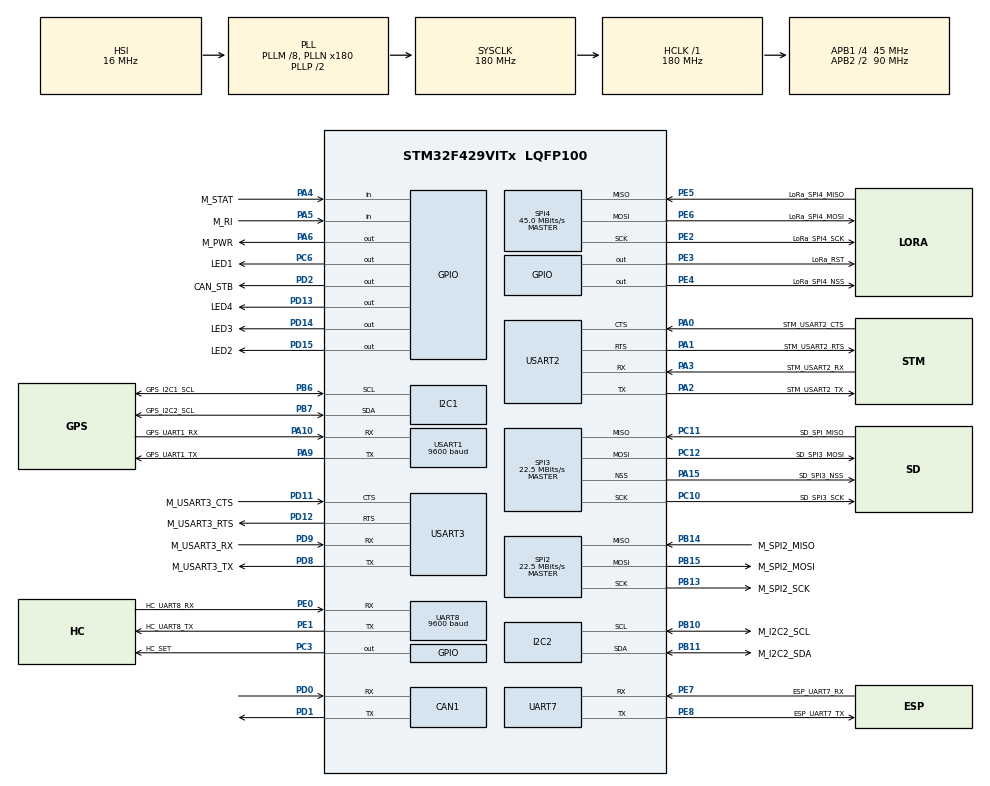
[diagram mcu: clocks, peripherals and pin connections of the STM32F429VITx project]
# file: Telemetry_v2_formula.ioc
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CAN1.CalculateTimeBit=3000
CAN1.CalculateTimeQuantum=355.55555555555554
Mcu.Family=STM32F4
Mcu.Name=STM32F429VITx
Mcu.Package=LQFP100
NVIC.I2C2_ER_IRQn=true\:0\:0\:false\:false\:true\:true
NVIC.I2C2_EV_IRQn=true\:0\:0\:false\:false\:true\:true
NVIC.PriorityGroup=NVIC_PRIORITYGROUP_4
NVIC.SPI4_IRQn=true\:0\:0\:false\:false\:true\:true
NVIC.TIM1_BRK_TIM9_IRQn=true\:0\:0\:false\:false\:true\:true
NVIC.TIM1_CC_IRQn=true\:0\:0\:false\:false\:true\:true
NVIC.TIM1_TRG_COM_TIM11_IRQn=true\:0\:0\:false\:false\:true\:true
NVIC.TIM1_UP_TIM10_IRQn=true\:0\:0\:false\:false\:true\:true
NVIC.TIM2_IRQn=true\:0\:0\:false\:false\:true\:true
NVIC.TIM3_IRQn=true\:0\:0\:false\:false\:true\:true
NVIC.TIM4_IRQn=true\:0\:0\:false\:false\:true\:true
NVIC.UART7_IRQn=true\:0\:0\:false\:false\:true\:true
NVIC.UART8_IRQn=true\:0\:0\:false\:false\:true\:true
NVIC.USART1_IRQn=true\:0\:0\:false\:false\:true\:true
NVIC.USART2_IRQn=true\:0\:0\:false\:false\:true\:true
NVIC.USART3_IRQn=true\:0\:0\:false\:false\:true\:true
PA0/WKUP.GPIO_Label=STM_USART2_CTS
PA0/WKUP.Mode=CTS_RTS
PA0/WKUP.Signal=USART2_CTS
PA1.GPIO_Label=STM_USART2_RTS
PA1.Mode=CTS_RTS
PA1.Signal=USART2_RTS
PA10.GPIO_Label=GPS_UART1_RX
PA10.Mode=Asynchronous
PA10.Signal=USART1_RX
PA13.Mode=Serial_Wire
PA13.Signal=SYS_JTMS-SWDIO
PA14.Mode=Serial_Wire
PA14.Signal=SYS_JTCK-SWCLK
PA15.GPIO_Label=SD_SPI3_NSS
PA15.Mode=NSS_Signal_Hard_Output
PA15.Signal=SPI3_NSS
PA2.GPIO_Label=STM_USART2_TX
PA2.Mode=Asynchronous
PA2.Signal=USART2_TX
PA3.GPIO_Label=STM_USART2_RX
PA3.Mode=Asynchronous
PA3.Signal=USART2_RX
PA4.GPIO_Label=M_STAT
PA4.Signal=GPIO_Input
PA5.GPIO_Label=M_RI
PA5.Signal=GPIO_Input
PA6.GPIO_Label=M_PWR
PA6.Signal=GPIO_Output
PA9.GPIO_Label=GPS_UART1_TX
PA9.Mode=Asynchronous
PA9.Signal=USART1_TX
PB10.GPIO_Label=M_I2C2_SCL
PB10.Mode=I2C
PB10.Signal=I2C2_SCL
PB11.GPIO_Label=M_I2C2_SDA
PB11.Mode=I2C
PB11.Signal=I2C2_SDA
PB12.GPIO_Label=M_SPI2_NSS
PB12.Signal=SPI2_NSS
PB13.GPIO_Label=M_SPI2_SCK
PB13.Mode=Full_Duplex_Master
PB13.Signal=SPI2_SCK
PB14.GPIO_Label=M_SPI2_MISO
PB14.Mode=Full_Duplex_Master
PB14.Signal=SPI2_MISO
PB15.GPIO_Label=M_SPI2_MOSI
PB15.Mode=Full_Duplex_Master
PB15.Signal=SPI2_MOSI
PB6.GPIO_Label=GPS_I2C1_SCL
PB6.Mode=I2C
PB6.Signal=I2C1_SCL
PB7.GPIO_Label=GPS_I2C2_SCL
PB7.Mode=I2C
PB7.Signal=I2C1_SDA
PC10.GPIO_Label=SD_SPI3_SCK
PC10.Mode=Full_Duplex_Master
PC10.Signal=SPI3_SCK
PC11.GPIO_Label=SD_SPI_MISO
PC11.Mode=Full_Duplex_Master
PC11.Signal=SPI3_MISO
PC12.GPIO_Label=SD_SPI3_MOSI
PC12.Mode=Full_Duplex_Master
PC12.Signal=SPI3_MOSI
PC3.GPIO_Label=HC_SET
PC3.Signal=GPIO_Output
PC6.GPIO_Label=LED1
PC6.Signal=GPIO_Output
PD0.Mode=Master
PD0.Signal=CAN1_RX
PD1.Mode=Master
PD1.Signal=CAN1_TX
PD11.GPIO_Label=M_USART3_CTS
PD11.Mode=CTS_RTS
PD11.Signal=USART3_CTS
PD12.GPIO_Label=M_USART3_RTS
PD12.Mode=CTS_RTS
PD12.Signal=USART3_RTS
PD13.GPIO_Label=LED4
PD13.Signal=GPIO_Output
PD14.GPIO_Label=LED3
PD14.Signal=GPIO_Output
PD15.GPIO_Label=LED2
PD15.Signal=GPIO_Output
PD2.GPIO_Label=CAN_STB
PD2.Signal=GPIO_Output
PD8.GPIO_Label=M_USART3_TX
PD8.Mode=Asynchronous
PD8.Signal=USART3_TX
PD9.GPIO_Label=M_USART3_RX
PD9.Mode=Asynchronous
PD9.Signal=USART3_RX
PE0.GPIO_Label=HC_UART8_RX
PE0.Mode=Asynchronous
PE0.Signal=UART8_RX
PE1.GPIO_Label=HC_UART8_TX
PE1.Mode=Asynchronous
PE1.Signal=UART8_TX
PE2.GPIO_Label=LoRa_SPI4_SCK
PE2.Mode=Full_Duplex_Master
PE2.Signal=SPI4_SCK
PE3.GPIO_Label=LoRa_RST
PE3.Signal=GPIO_Output
PE4.GPIO_Label=LoRa_SPI4_NSS
PE4.Signal=GPIO_Output
PE5.GPIO_Label=LoRa_SPI4_MISO
PE5.Mode=Full_Duplex_Master
PE5.Signal=SPI4_MISO
PE6.GPIO_Label=LoRa_SPI4_MOSI
PE6.Mode=Full_Duplex_Master
PE6.Signal=SPI4_MOSI
PE7.GPIO_Label=ESP_UART7_RX
PE7.Mode=Asynchronous
PE7.Signal=UART7_RX
PE8.GPIO_Label=ESP_UART7_TX
PE8.Mode=Asynchronous
PE8.Signal=UART7_TX
ProjectManager.HeapSize=0x200
ProjectManager.StackSize=0x400
ProjectManager.TargetToolchain=TrueSTUDIO
RCC.48MHZClocksFreq_Value=90000000
RCC.AHBFreq_Value=180000000
RCC.APB1CLKDivider=RCC_HCLK_DIV4
RCC.APB1Freq_Value=45000000
RCC.APB1TimFreq_Value=90000000
RCC.APB2CLKDivider=RCC_HCLK_DIV2
RCC.APB2Freq_Value=90000000
RCC.APB2TimFreq_Value=180000000
RCC.CortexFreq_Value=180000000
RCC.HCLKFreq_Value=180000000
RCC.HSE_VALUE=25000000
RCC.HSI_VALUE=16000000
RCC.LSE_VALUE=32768
RCC.PLLM=8
RCC.PLLN=180
RCC.SYSCLKFreq_VALUE=180000000
RCC.SYSCLKSource=RCC_SYSCLKSOURCE_PLLCLK
RCC.VCOOutputFreq_Value=360000000
SPI2.CalculateBaudRate=22.5 MBits/s
SPI2.Direction=SPI_DIRECTION_2LINES
SPI2.Mode=SPI_MODE_MASTER
SPI2.VirtualType=VM_MASTER
SPI3.CalculateBaudRate=22.5 MBits/s
SPI3.Direction=SPI_DIRECTION_2LINES
SPI3.Mode=SPI_MODE_MASTER
SPI3.VirtualNSS=VM_NSSHARD
SPI3.VirtualType=VM_MASTER
SPI4.CalculateBaudRate=45.0 MBits/s
SPI4.Direction=SPI_DIRECTION_2LINES
SPI4.Mode=SPI_MODE_MASTER
SPI4.VirtualType=VM_MASTER
TIM1.Period=62499
TIM1.Prescaler=287
TIM2.Period=62499
TIM2.Prescaler=719
TIM3.Period=62499
TIM3.Prescaler=1439
TIM4.Period=63999
TIM4.Prescaler=5624
UART7.VirtualMode=Asynchronous
UART8.BaudRate=9600
UART8.VirtualMode=Asynchronous
USART1.BaudRate=9600
USART1.VirtualMode=VM_ASYNC
USART2.VirtualMode=VM_ASYNC
USART3.VirtualMode=VM_ASYNC
VP_TIM1_VS_ClockSourceINT.Mode=Internal
VP_TIM2_VS_ClockSourceINT.Mode=Internal
VP_TIM3_VS_ClockSourceINT.Mode=Internal
VP_TIM4_VS_ClockSourceINT.Mode=Internal
board=Telemetry_v2_formula

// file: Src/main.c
/**
 ******************************************************************************
 * @file           : main.c
 * @brief          : Main program body
 ******************************************************************************
 ** This notice applies to any and all portions of this file
 * that are not between comment pairs USER CODE BEGIN and
 * USER CODE END. Other portions of this file, whether
 * inserted by the user or by software development tools
 * are owned by their respective copyright owners.
 *
 * COPYRIGHT(c) 2019 STMicroelectronics
 *
 * Redistribution and use in source and binary forms, with or without modification,
 * are permitted provided that the following conditions are met:
 *   1. Redistributions of source code must retain the above copyright notice,
 *      this list of conditions and the following disclaimer.
 *   2. Redistributions in binary form must reproduce the above copyright notice,
 *      this list of conditions and the following disclaimer in the documentation
 *      and/or other materials provided with the distribution.
 *   3. Neither the name of STMicroelectronics nor the names of its contributors
 *      may be used to endorse or promote products derived from this software
 *      without specific prior written permission.
 *
 * THIS SOFTWARE IS PROVIDED BY THE COPYRIGHT HOLDERS AND CONTRIBUTORS "AS IS"
 * AND ANY EXPRESS OR IMPLIED WARRANTIES, INCLUDING, BUT NOT LIMITED TO, THE
 * IMPLIED WARRANTIES OF MERCHANTABILITY AND FITNESS FOR A PARTICULAR PURPOSE ARE
 * DISCLAIMED. IN NO EVENT SHALL THE COPYRIGHT HOLDER OR CONTRIBUTORS BE LIABLE
 * FOR ANY DIRECT, INDIRECT, INCIDENTAL, SPECIAL, EXEMPLARY, OR CONSEQUENTIAL
 * DAMAGES (INCLUDING, BUT NOT LIMITED TO, PROCUREMENT OF SUBSTITUTE GOODS OR
 * SERVICES; LOSS OF USE, DATA, OR PROFITS; OR BUSINESS INTERRUPTION) HOWEVER
 * CAUSED AND ON ANY THEORY OF LIABILITY, WHETHER IN CONTRACT, STRICT LIABILITY,
 * OR TORT (INCLUDING NEGLIGENCE OR OTHERWISE) ARISING IN ANY WAY OUT OF THE USE
 * OF THIS SOFTWARE, EVEN IF ADVISED OF THE POSSIBILITY OF SUCH DAMAGE.
 *
 ******************************************************************************
 */
#include "main.h"
#include "stm32f4xx_hal.h"

/* USER CODE BEGIN Includes */
#include "gps.h"
#include "CAN2018.h"
#include <string.h>

#define GPSSENTENCE 100
#define ESP32SENTENCE 2
#define HC12SENTENCE 2

/*
 // LORA return codes
 #define LORA_OK                            0
 #define LORA_CRC_ERROR                     1
 #define LORA_TIMEOUT                       2
 #define LORA_INVALID_HEADER                3
 #define LORA_ERROR                         4
 #define LORA_BUSY                          5
 #define LORA_EMPTY                         6
 */

/* USER CODE END Includes */

CAN_HandleTypeDef hcan1;

I2C_HandleTypeDef hi2c1;
I2C_HandleTypeDef hi2c2;

SPI_HandleTypeDef hspi2;
SPI_HandleTypeDef hspi3;
SPI_HandleTypeDef hspi4;

TIM_HandleTypeDef htim1;
TIM_HandleTypeDef htim2;
TIM_HandleTypeDef htim3;
TIM_HandleTypeDef htim4;

UART_HandleTypeDef huart7;
UART_HandleTypeDef huart8;
UART_HandleTypeDef huart1;
UART_HandleTypeDef huart2;
UART_HandleTypeDef huart3;

/* USER CODE BEGIN PV */
/* Private variables ---------------------------------------------------------*/

uint16_t unAvailableTime = 3000;

// Timers flags
uint8_t Tim1Flag = 0;
uint8_t Tim2Flag = 0;
uint8_t Tim3Flag = 0;
uint8_t Tim4Flag = 0;

// Availible states
uint8_t hcAvailible = 1;

// HC-12
uint8_t hcRxChar[2];	// character from HC-12
uint8_t hcSentence[HC12SENTENCE];
uint16_t hcSentenceLength = 0;
uint8_t hcSentenceReady = 0;
uint32_t hcLastOK = 0;

// GPS
uint8_t RxFromGpsBuffer[2];
uint8_t Gps_Sentence[GPSSENTENCE];
int Gps_Sentence_length = 0;

// ESP32 - WiFi
uint8_t esp32RxChar[2];
uint8_t Esp32_Sentence[ESP32SENTENCE];
int Esp32_Sentence_length = 0;
uint8_t esp32Availible = 0;
uint32_t esp32LastOK = 0;

// ID of package
uint16_t msgID = 1;	// packet ID
char* sendWiFiMsg(uint8_t *msg, uint16_t *msg_len);
/* USER CODE END PV */

void SystemClock_Config(void);
static void MX_GPIO_Init(void);
static void MX_CAN1_Init(void);
static void MX_I2C1_Init(void);
static void MX_I2C2_Init(void);
static void MX_SPI2_Init(void);
static void MX_SPI3_Init(void);
static void MX_SPI4_Init(void);
static void MX_UART7_Init(void);
static void MX_UART8_Init(void);
static void MX_USART1_UART_Init(void);
static void MX_USART2_UART_Init(void);
static void MX_USART3_UART_Init(void);
static void MX_TIM1_Init(void);
static void MX_TIM2_Init(void);
static void MX_TIM3_Init(void);
static void MX_TIM4_Init(void);

/* USER CODE BEGIN PFP */
/* Private function prototypes -----------------------------------------------*/

uint16_t getCharCount(uint8_t *msg, uint8_t *msg_len, uint8_t ch) {
	int count = 0;
	for (int i = 0; i < *msg_len; i++) {
		if (*(msg + i) == ch) {
			count++;
		}
	}
	return count;
}

uint8_t sendHc12(uint8_t *msg, uint8_t *msg_len) {
	// send via HC-12 (434 MHz)

	hcAvailible = 0;
	uint16_t specCharCount = getCharCount(msg, msg_len, 0xff)
			+ getCharCount(msg, msg_len, 0xfe);
	uint8_t * new_msg = (uint8_t*) malloc(*msg_len + specCharCount + 6);// original size + doubled chars + header & footer
	new_msg[0] = 0x00;
	new_msg[1] = 0xfe;
	new_msg[2] = 0x00;

	uint16_t oldIndex = 0;
	uint16_t newIndex = 3;
	for (oldIndex = 0; oldIndex < *msg_len; oldIndex++) {
		if ((*(msg + oldIndex) == 0xff) || (*(msg + oldIndex) == 0xfe)) {
			new_msg[newIndex++] = *(msg + oldIndex);
			new_msg[newIndex++] = *(msg + oldIndex);
		} else {
			new_msg[newIndex++] = *(msg + oldIndex);
		}
	}
	new_msg[newIndex++] = 0x00;
	new_msg[newIndex++] = 0xff;
	new_msg[newIndex++] = 0x00;

	uint8_t res = HAL_UART_Transmit(&huart8, new_msg, newIndex, 300);
	HAL_Delay(100);
	vypis("\r\n");
	free(new_msg);
	hcAvailible = 1;
	return res;
}
uint8_t sendEsp32(uint8_t *msg, uint8_t *msg_len) {
	HAL_GPIO_TogglePin(LED3_GPIO_Port, LED3_Pin);
	// send via HC-12 (434 MHz)

	uint16_t specCharCount = getCharCount(msg, msg_len, 0xff)
			+ getCharCount(msg, msg_len, 0xfe);
	uint8_t * new_msg = (uint8_t*) malloc(*msg_len + specCharCount + 6);// original size + doubled chars + header & footer
	new_msg[0] = 0x00;
	new_msg[1] = 0xfe;
	new_msg[2] = 0x00;

	uint16_t oldIndex = 0;
	uint16_t newIndex = 3;
	for (oldIndex = 0; oldIndex < *msg_len; oldIndex++) {
		if ((*(msg + oldIndex) == 0xff) || (*(msg + oldIndex) == 0xfe)) {
			new_msg[newIndex++] = *(msg + oldIndex);
			new_msg[newIndex++] = *(msg + oldIndex);
		} else {
			new_msg[newIndex++] = *(msg + oldIndex);
		}
	}
	new_msg[newIndex++] = 0x00;
	new_msg[newIndex++] = 0xff;
	new_msg[newIndex++] = 0x00;

	sendWiFiMsg(new_msg, newIndex);
	HAL_Delay(100);
	free(new_msg);
}

void send(uint8_t *msg, uint8_t *msg_len) {
	uint8_t res = sendWiFiMsg(msg, msg_len);
	uint8_t res2 = sendHc12(msg, msg_len);
}

uint8_t * append_message_ID(uint8_t *msg, uint16_t *msg_len, uint16_t ID) {
	uint8_t dataSize = 2; // ID is uint16 (2 bytes)
	msg = (uint8_t *) realloc(msg, *msg_len + dataSize * sizeof(uint8_t));

	int index = *msg_len;
	msg[0] = ID & 0xff;
	msg[1] = ID >> 8;
	*msg_len = *msg_len + dataSize;
	return msg;
}

void HAL_UART_RxCpltCallback(UART_HandleTypeDef *huart) {
	if (huart == &huart8) {
		// HC-12

		if ((hcRxChar[0] == 'O')) {
			hcSentence[0] = 'O';
		} else if ((hcRxChar[0] == 'K') && (hcSentence[0] == 'O')) {
			hcLastOK = HAL_GetTick();
			hcSentence[0] = 0x00;
			hcSentence[1] = 0x00;
		} else {
			hcSentence[0] = 0x00;
			hcSentence[1] = 0x00;
		}
		HAL_GPIO_TogglePin(LED1_GPIO_Port, LED1_Pin);
		HAL_UART_Receive_IT(&huart8, hcRxChar, 1);
	}
	if (huart == &huart7) {
		// wifi module

		if ((esp32RxChar[0] == 'O')) {
			Esp32_Sentence[0] = 'O';
		} else if ((esp32RxChar[0] == 'K') && (Esp32_Sentence[0] == 'O')) {

			esp32LastOK = HAL_GetTick();

			Esp32_Sentence[0] = 0x00;
			Esp32_Sentence[1] = 0x00;
		} else {
			Esp32_Sentence[0] = 0x00;
			Esp32_Sentence[1] = 0x00;
		}

		HAL_GPIO_TogglePin(LED1_GPIO_Port, LED1_Pin);

		HAL_UART_Receive_IT(&huart7, esp32RxChar, 1);

	}
	if (huart == &huart1) {
		// GPS
		if (RxFromGpsBuffer[0] == '$') {
			Gps_Sentence_length = 0;
			Gps_Sentence[Gps_Sentence_length++] = RxFromGpsBuffer[0];
		} else {
			if (RxFromGpsBuffer[0] == '\n') {
				Gps_Sentence[Gps_Sentence_length++] = RxFromGpsBuffer[0];
				GPS_FindSentence(&GPS_msg, Gps_Sentence, 0, 100);
				if (GPS_msg.type != NMEA_BAD) {
					GPS_sentences_parsed++;
					GPS_ParseSentence(Gps_Sentence, &GPS_msg);
				} else
					GPS_sentences_unknown++;
			} else {
				Gps_Sentence[Gps_Sentence_length++] = RxFromGpsBuffer[0];
			}
		}
		HAL_UART_Receive_IT(&huart1, RxFromGpsBuffer, 1);
	}
}

void vypis(char str[]) {
	// uncomment to debug
	// comment to real conditions

	//HAL_UART_Transmit(&huart2, (uint8_t*) str, strlen(str), 20);

	//HAL_GPIO_TogglePin(LED2_GPIO_Port, LED2_Pin);
}

char * addToMsg(char dst[], const char src[]) {
	int sizeNewArray = strlen(dst) + strlen(src) + 1;
	char * newJSON = (char *) malloc(sizeNewArray);
	strcpy(newJSON, dst);
	strcpy(newJSON + strlen(dst), src);
	free(dst);	// free old memory
	return newJSON;
}

/* USER CODE END PFP */

int main(void) {

	/* MCU Configuration----------------------------------------------------------*/

	/* Reset of all peripherals, Initializes the Flash interface and the Systick. */
	HAL_Init();

	/* Configure the system clock */
	SystemClock_Config();

	/* Initialize all configured peripherals */
	MX_GPIO_Init();
	MX_CAN1_Init();
	MX_I2C1_Init();
	MX_I2C2_Init();
	MX_SPI2_Init();
	MX_SPI3_Init();
	MX_SPI4_Init();
	MX_UART7_Init();
	MX_UART8_Init();
	MX_USART1_UART_Init();
	MX_USART2_UART_Init();
	MX_USART3_UART_Init();
	MX_TIM1_Init();
	MX_TIM2_Init();
	MX_TIM3_Init();
	MX_TIM4_Init();
	/* USER CODE BEGIN 2 */

	HAL_TIM_Base_Start_IT(&htim1);
	HAL_TIM_Base_Start_IT(&htim2);
	HAL_TIM_Base_Start_IT(&htim3);
	HAL_TIM_Base_Start_IT(&htim4);

	GPS_InitData();

	if (HAL_UART_Receive_IT(&huart8, hcRxChar, 1) != HAL_OK) {
		// HC-12 error
		hcAvailible = 0;
		vypis("\n\nHC-12 ERROR!!  \r\n\n");
	}

	if (HAL_UART_Receive_IT(&huart1, RxFromGpsBuffer, 1) != HAL_OK) {
		// GPS error
	}

	if (HAL_UART_Receive_IT(&huart7, esp32RxChar, 1) != HAL_OK) {
		// ESP32 error
		vypis("\n\nESP32 ERROR!!  \r\n\n");
	}
	if (HAL_CAN_Start(&hcan1) != HAL_OK) {
		// can error
	}

	/*
	 * 				  RX - TX
	 * USART 1 - GPS - PA10, PA9
	 * GPS: 9600 Baud, 8 bits, no parity bit, 1 stop bit,
	 *
	 * USART 2 - SERIAL USB - PA3, PA2
	 * USART 3 - MICROBUS CLICK2 - PD9, PD8 + PD11 + PD12
	 * UART 7 - ESP32 - PE7, PE8
	 * UART 8 - HC-12 - PE0, PE1, PC3 (set)
	 * SET PIN = low (reset) -> setting mode, AT
	 * SET PIN = high (set) -> communication mode
	 *
	 * SPI2 - LORA - PB12, PB13, PB14, PB15
	 * USART3
	 *
	 * I2C2 - GPS
	 *
	 */

	/*
	 * HC-12 config
	 */
	HAL_GPIO_WritePin(HC_SET_GPIO_Port, HC_SET_Pin, GPIO_PIN_RESET); // config mode
	HAL_Delay(100);

	// +20 dBm boost transmit
	HAL_UART_Transmit(&huart8, "AT+P8\0", 6, 100);
	HAL_Delay(100);

	// set HC-12 to normal (sending) mode
	HAL_GPIO_WritePin(HC_SET_GPIO_Port, HC_SET_Pin, GPIO_PIN_SET); // send mode
	HAL_Delay(100);

	/* USER CODE END 2 */

	/* Infinite loop */
	/* USER CODE BEGIN WHILE */

	while (1) {

		uint8_t* msg = malloc(sizeof(uint8_t));
		uint16_t msg_len = 0;
		msg = append_message_ID(msg, &msg_len, msgID++); // append packet ID to message

		if (Tim1Flag) {
			// send CAN ID 10, 15, 20

			msg = append_BBOX_power_Data(msg, &msg_len);
			msg = append_wheel_RPM_Data(msg, &msg_len);
			msg = append_BBOX_status_Data(msg, &msg_len);

			Tim1Flag = 0;
		}
		if (Tim2Flag) {
			//send CAN iD 25,30,40,50

			msg = append_FU_Values_1(msg, &msg_len);
			msg = append_BBOX_command(msg, &msg_len);
			msg = append_BMS_Command(msg, &msg_len);
			msg = append_BMS_State(msg, &msg_len);

			Tim2Flag = 0;
		}
		if (Tim3Flag) {
			// send CAN ID 60, 70, 80, 90, 95 + GPS data

			msg = append_ECU_State(msg, &msg_len);
			msg = append_FU_Values_2(msg, &msg_len);

			msg = append_GPS_Data(msg, &msg_len);

			Tim3Flag = 0;
		}
		if (Tim4Flag) {
			// For CAN ID 184 - 290
			msg = append_Interconnect(msg, &msg_len);
			msg = append_BMS_Voltages(msg, &msg_len);
			msg = append_BMS_Temps(msg, &msg_len);

		}

		send(msg, &msg_len); // sendData(msg, &msg_len);
		free(msg);

		HAL_Delay(500);

		HAL_GPIO_TogglePin(LED4_GPIO_Port, LED4_Pin);

		/* USER CODE END WHILE */

	}

}

void SystemClock_Config(void) {

	RCC_OscInitTypeDef RCC_OscInitStruct;
	RCC_ClkInitTypeDef RCC_ClkInitStruct;

	/**Configure the main internal regulator output voltage
	 */
	__HAL_RCC_PWR_CLK_ENABLE()
	;

	__HAL_PWR_VOLTAGESCALING_CONFIG(PWR_REGULATOR_VOLTAGE_SCALE1);

	/**Initializes the CPU, AHB and APB busses clocks
	 */
	RCC_OscInitStruct.OscillatorType = RCC_OSCILLATORTYPE_HSI;
	RCC_OscInitStruct.HSIState = RCC_HSI_ON;
	RCC_OscInitStruct.HSICalibrationValue = 16;
	RCC_OscInitStruct.PLL.PLLState = RCC_PLL_ON;
	RCC_OscInitStruct.PLL.PLLSource = RCC_PLLSOURCE_HSI;
	RCC_OscInitStruct.PLL.PLLM = 8;
	RCC_OscInitStruct.PLL.PLLN = 180;
	RCC_OscInitStruct.PLL.PLLP = RCC_PLLP_DIV2;
	RCC_OscInitStruct.PLL.PLLQ = 4;
	if (HAL_RCC_OscConfig(&RCC_OscInitStruct) != HAL_OK) {
		_Error_Handler(__FILE__, __LINE__);
	}

	/**Activate the Over-Drive mode
	 */
	if (HAL_PWREx_EnableOverDrive() != HAL_OK) {
		_Error_Handler(__FILE__, __LINE__);
	}

	/**Initializes the CPU, AHB and APB busses clocks
	 */
	RCC_ClkInitStruct.ClockType = RCC_CLOCKTYPE_HCLK | RCC_CLOCKTYPE_SYSCLK
			| RCC_CLOCKTYPE_PCLK1 | RCC_CLOCKTYPE_PCLK2;
	RCC_ClkInitStruct.SYSCLKSource = RCC_SYSCLKSOURCE_PLLCLK;
	RCC_ClkInitStruct.AHBCLKDivider = RCC_SYSCLK_DIV1;
	RCC_ClkInitStruct.APB1CLKDivider = RCC_HCLK_DIV4;
	RCC_ClkInitStruct.APB2CLKDivider = RCC_HCLK_DIV2;

	if (HAL_RCC_ClockConfig(&RCC_ClkInitStruct, FLASH_LATENCY_5) != HAL_OK) {
		_Error_Handler(__FILE__, __LINE__);
	}

	/**Configure the Systick interrupt time
	 */
	HAL_SYSTICK_Config(HAL_RCC_GetHCLKFreq() / 1000);

	/**Configure the Systick
	 */
	HAL_SYSTICK_CLKSourceConfig(SYSTICK_CLKSOURCE_HCLK);

	/* SysTick_IRQn interrupt configuration */
	HAL_NVIC_SetPriority(SysTick_IRQn, 0, 0);
}

/* CAN1 init function */
static void MX_CAN1_Init(void) {

	hcan1.Instance = CAN1;
	hcan1.Init.Prescaler = 16;
	hcan1.Init.Mode = CAN_MODE_NORMAL;
	hcan1.Init.SyncJumpWidth = CAN_SJW_1TQ;
	hcan1.Init.TimeSeg1 = CAN_BS1_1TQ;
	hcan1.Init.TimeSeg2 = CAN_BS2_1TQ;
	hcan1.Init.TimeTriggeredMode = DISABLE;
	hcan1.Init.AutoBusOff = DISABLE;
	hcan1.Init.AutoWakeUp = DISABLE;
	hcan1.Init.AutoRetransmission = DISABLE;
	hcan1.Init.ReceiveFifoLocked = DISABLE;
	hcan1.Init.TransmitFifoPriority = DISABLE;
	if (HAL_CAN_Init(&hcan1) != HAL_OK) {
		_Error_Handler(__FILE__, __LINE__);
	}

}

/* I2C1 init function */
static void MX_I2C1_Init(void) {

	hi2c1.Instance = I2C1;
	hi2c1.Init.ClockSpeed = 100000;
	hi2c1.Init.DutyCycle = I2C_DUTYCYCLE_2;
	hi2c1.Init.OwnAddress1 = 0;
	hi2c1.Init.AddressingMode = I2C_ADDRESSINGMODE_7BIT;
	hi2c1.Init.DualAddressMode = I2C_DUALADDRESS_DISABLE;
	hi2c1.Init.OwnAddress2 = 0;
	hi2c1.Init.GeneralCallMode = I2C_GENERALCALL_DISABLE;
	hi2c1.Init.NoStretchMode = I2C_NOSTRETCH_DISABLE;
	if (HAL_I2C_Init(&hi2c1) != HAL_OK) {
		_Error_Handler(__FILE__, __LINE__);
	}

}

/* I2C2 init function */
static void MX_I2C2_Init(void) {

	hi2c2.Instance = I2C2;
	hi2c2.Init.ClockSpeed = 100000;
	hi2c2.Init.DutyCycle = I2C_DUTYCYCLE_2;
	hi2c2.Init.OwnAddress1 = 0;
	hi2c2.Init.AddressingMode = I2C_ADDRESSINGMODE_7BIT;
	hi2c2.Init.DualAddressMode = I2C_DUALADDRESS_DISABLE;
	hi2c2.Init.OwnAddress2 = 0;
	hi2c2.Init.GeneralCallMode = I2C_GENERALCALL_DISABLE;
	hi2c2.Init.NoStretchMode = I2C_NOSTRETCH_DISABLE;
	if (HAL_I2C_Init(&hi2c2) != HAL_OK) {
		_Error_Handler(__FILE__, __LINE__);
	}

}

/* SPI2 init function */
static void MX_SPI2_Init(void) {

	/* SPI2 parameter configuration*/
	hspi2.Instance = SPI2;
	hspi2.Init.Mode = SPI_MODE_MASTER;
	hspi2.Init.Direction = SPI_DIRECTION_2LINES;
	hspi2.Init.DataSize = SPI_DATASIZE_8BIT;
	hspi2.Init.CLKPolarity = SPI_POLARITY_LOW;
	hspi2.Init.CLKPhase = SPI_PHASE_1EDGE;
	hspi2.Init.NSS = SPI_NSS_SOFT;
	hspi2.Init.BaudRatePrescaler = SPI_BAUDRATEPRESCALER_2;
	hspi2.Init.FirstBit = SPI_FIRSTBIT_MSB;
	hspi2.Init.TIMode = SPI_TIMODE_DISABLE;
	hspi2.Init.CRCCalculation = SPI_CRCCALCULATION_DISABLE;
	hspi2.Init.CRCPolynomial = 10;
	if (HAL_SPI_Init(&hspi2) != HAL_OK) {
		_Error_Handler(__FILE__, __LINE__);
	}

}

/* SPI3 init function */
static void MX_SPI3_Init(void) {

	/* SPI3 parameter configuration*/
	hspi3.Instance = SPI3;
	hspi3.Init.Mode = SPI_MODE_MASTER;
	hspi3.Init.Direction = SPI_DIRECTION_2LINES;
	hspi3.Init.DataSize = SPI_DATASIZE_8BIT;
	hspi3.Init.CLKPolarity = SPI_POLARITY_LOW;
	hspi3.Init.CLKPhase = SPI_PHASE_1EDGE;
	hspi3.Init.NSS = SPI_NSS_HARD_OUTPUT;
	hspi3.Init.BaudRatePrescaler = SPI_BAUDRATEPRESCALER_2;
	hspi3.Init.FirstBit = SPI_FIRSTBIT_MSB;
	hspi3.Init.TIMode = SPI_TIMODE_DISABLE;
	hspi3.Init.CRCCalculation = SPI_CRCCALCULATION_DISABLE;
	hspi3.Init.CRCPolynomial = 10;
	if (HAL_SPI_Init(&hspi3) != HAL_OK) {
		_Error_Handler(__FILE__, __LINE__);
	}

}

/* SPI4 init function */
static void MX_SPI4_Init(void) {

	/* SPI4 parameter configuration*/
	hspi4.Instance = SPI4;
	hspi4.Init.Mode = SPI_MODE_MASTER;
	hspi4.Init.Direction = SPI_DIRECTION_2LINES;
	hspi4.Init.DataSize = SPI_DATASIZE_8BIT;
	hspi4.Init.CLKPolarity = SPI_POLARITY_LOW;
	hspi4.Init.CLKPhase = SPI_PHASE_1EDGE;
	hspi4.Init.NSS = SPI_NSS_SOFT;
	hspi4.Init.BaudRatePrescaler = SPI_BAUDRATEPRESCALER_2;
	hspi4.Init.FirstBit = SPI_FIRSTBIT_MSB;
	hspi4.Init.TIMode = SPI_TIMODE_DISABLE;
	hspi4.Init.CRCCalculation = SPI_CRCCALCULATION_DISABLE;
	hspi4.Init.CRCPolynomial = 10;
	if (HAL_SPI_Init(&hspi4) != HAL_OK) {
		_Error_Handler(__FILE__, __LINE__);
	}

}

/* TIM1 init function */
static void MX_TIM1_Init(void) {

	TIM_ClockConfigTypeDef sClockSourceConfig;
	TIM_MasterConfigTypeDef sMasterConfig;

	htim1.Instance = TIM1;
	htim1.Init.Prescaler = 2879;
	htim1.Init.CounterMode = TIM_COUNTERMODE_UP;
	htim1.Init.Period = 62499;
	htim1.Init.ClockDivision = TIM_CLOCKDIVISION_DIV1;
	htim1.Init.RepetitionCounter = 0;
	if (HAL_TIM_Base_Init(&htim1) != HAL_OK) {
		_Error_Handler(__FILE__, __LINE__);
	}

	sClockSourceConfig.ClockSource = TIM_CLOCKSOURCE_INTERNAL;
	if (HAL_TIM_ConfigClockSource(&htim1, &sClockSourceConfig) != HAL_OK) {
		_Error_Handler(__FILE__, __LINE__);
	}

	sMasterConfig.MasterOutputTrigger = TIM_TRGO_RESET;
	sMasterConfig.MasterSlaveMode = TIM_MASTERSLAVEMODE_DISABLE;
	if (HAL_TIMEx_MasterConfigSynchronization(&htim1, &sMasterConfig)
			!= HAL_OK) {
		_Error_Handler(__FILE__, __LINE__);
	}

}

/* TIM2 init function */
static void MX_TIM2_Init(void) {

	TIM_ClockConfigTypeDef sClockSourceConfig;
	TIM_MasterConfigTypeDef sMasterConfig;

	htim2.Instance = TIM2;
	htim2.Init.Prescaler = 8639;
	htim2.Init.CounterMode = TIM_COUNTERMODE_UP;
	htim2.Init.Period = 62499;
	htim2.Init.ClockDivision = TIM_CLOCKDIVISION_DIV1;
	if (HAL_TIM_Base_Init(&htim2) != HAL_OK) {
		_Error_Handler(__FILE__, __LINE__);
	}

	sClockSourceConfig.ClockSource = TIM_CLOCKSOURCE_INTERNAL;
	if (HAL_TIM_ConfigClockSource(&htim2, &sClockSourceConfig) != HAL_OK) {
		_Error_Handler(__FILE__, __LINE__);
	}

	sMasterConfig.MasterOutputTrigger = TIM_TRGO_RESET;
	sMasterConfig.MasterSlaveMode = TIM_MASTERSLAVEMODE_DISABLE;
	if (HAL_TIMEx_MasterConfigSynchronization(&htim2, &sMasterConfig)
			!= HAL_OK) {
		_Error_Handler(__FILE__, __LINE__);
	}

}

/* TIM3 init function */
static void MX_TIM3_Init(void) {

	TIM_ClockConfigTypeDef sClockSourceConfig;
	TIM_MasterConfigTypeDef sMasterConfig;

	htim3.Instance = TIM3;
	htim3.Init.Prescaler = 14399;
	htim3.Init.CounterMode = TIM_COUNTERMODE_UP;
	htim3.Init.Period = 62499;
	htim3.Init.ClockDivision = TIM_CLOCKDIVISION_DIV1;
	if (HAL_TIM_Base_Init(&htim3) != HAL_OK) {
		_Error_Handler(__FILE__, __LINE__);
	}

	sClockSourceConfig.ClockSource = TIM_CLOCKSOURCE_INTERNAL;
	if (HAL_TIM_ConfigClockSource(&htim3, &sClockSourceConfig) != HAL_OK) {
		_Error_Handler(__FILE__, __LINE__);
	}

	sMasterConfig.MasterOutputTrigger = TIM_TRGO_RESET;
	sMasterConfig.MasterSlaveMode = TIM_MASTERSLAVEMODE_DISABLE;
	if (HAL_TIMEx_MasterConfigSynchronization(&htim3, &sMasterConfig)
			!= HAL_OK) {
		_Error_Handler(__FILE__, __LINE__);
	}

}

/* TIM4 init function */
static void MX_TIM4_Init(void) {

	TIM_ClockConfigTypeDef sClockSourceConfig;
	TIM_MasterConfigTypeDef sMasterConfig;

	htim4.Instance = TIM4;
	htim4.Init.Prescaler = 28124;
	htim4.Init.CounterMode = TIM_COUNTERMODE_UP;
	htim4.Init.Period = 63999;
	htim4.Init.ClockDivision = TIM_CLOCKDIVISION_DIV1;
	if (HAL_TIM_Base_Init(&htim4) != HAL_OK) {
		_Error_Handler(__FILE__, __LINE__);
	}

	sClockSourceConfig.ClockSource = TIM_CLOCKSOURCE_INTERNAL;
	if (HAL_TIM_ConfigClockSource(&htim4, &sClockSourceConfig) != HAL_OK) {
		_Error_Handler(__FILE__, __LINE__);
	}

	sMasterConfig.MasterOutputTrigger = TIM_TRGO_RESET;
	sMasterConfig.MasterSlaveMode = TIM_MASTERSLAVEMODE_DISABLE;
	if (HAL_TIMEx_MasterConfigSynchronization(&htim4, &sMasterConfig)
			!= HAL_OK) {
		_Error_Handler(__FILE__, __LINE__);
	}

}

/* UART7 init function */
static void MX_UART7_Init(void) {

	huart7.Instance = UART7;
	huart7.Init.BaudRate = 115200;
	huart7.Init.WordLength = UART_WORDLENGTH_8B;
	huart7.Init.StopBits = UART_STOPBITS_1;
	huart7.Init.Parity = UART_PARITY_NONE;
	huart7.Init.Mode = UART_MODE_TX_RX;
	huart7.Init.HwFlowCtl = UART_HWCONTROL_NONE;
	huart7.Init.OverSampling = UART_OVERSAMPLING_16;
	if (HAL_UART_Init(&huart7) != HAL_OK) {
		_Error_Handler(__FILE__, __LINE__);
	}

}

/* UART8 init function */
static void MX_UART8_Init(void) {

	huart8.Instance = UART8;
	huart8.Init.BaudRate = 9600;
	huart8.Init.WordLength = UART_WORDLENGTH_8B;
	huart8.Init.StopBits = UART_STOPBITS_1;
	huart8.Init.Parity = UART_PARITY_NONE;
	huart8.Init.Mode = UART_MODE_TX_RX;
	huart8.Init.HwFlowCtl = UART_HWCONTROL_NONE;
	huart8.Init.OverSampling = UART_OVERSAMPLING_16;
	if (HAL_UART_Init(&huart8) != HAL_OK) {
		_Error_Handler(__FILE__, __LINE__);
	}

}

/* USART1 init function */
static void MX_USART1_UART_Init(void) {

	huart1.Instance = USART1;
	huart1.Init.BaudRate = 9600;
	huart1.Init.WordLength = UART_WORDLENGTH_8B;
	huart1.Init.StopBits = UART_STOPBITS_1;
	huart1.Init.Parity = UART_PARITY_NONE;
	huart1.Init.Mode = UART_MODE_TX_RX;
	huart1.Init.HwFlowCtl = UART_HWCONTROL_NONE;
	huart1.Init.OverSampling = UART_OVERSAMPLING_16;
	if (HAL_UART_Init(&huart1) != HAL_OK) {
		_Error_Handler(__FILE__, __LINE__);
	}

}

/* USART2 init function */
static void MX_USART2_UART_Init(void) {

	huart2.Instance = USART2;
	huart2.Init.BaudRate = 115200;
	huart2.Init.WordLength = UART_WORDLENGTH_8B;
	huart2.Init.StopBits = UART_STOPBITS_1;
	huart2.Init.Parity = UART_PARITY_NONE;
	huart2.Init.Mode = UART_MODE_TX_RX;
	huart2.Init.HwFlowCtl = UART_HWCONTROL_RTS_CTS;
	huart2.Init.OverSampling = UART_OVERSAMPLING_16;
	if (HAL_UART_Init(&huart2) != HAL_OK) {
		_Error_Handler(__FILE__, __LINE__);
	}

}

/* USART3 init function */
static void MX_USART3_UART_Init(void) {

	huart3.Instance = USART3;
	huart3.Init.BaudRate = 115200;
	huart3.Init.WordLength = UART_WORDLENGTH_8B;
	huart3.Init.StopBits = UART_STOPBITS_1;
	huart3.Init.Parity = UART_PARITY_NONE;
	huart3.Init.Mode = UART_MODE_TX_RX;
	huart3.Init.HwFlowCtl = UART_HWCONTROL_RTS_CTS;
	huart3.Init.OverSampling = UART_OVERSAMPLING_16;
	if (HAL_UART_Init(&huart3) != HAL_OK) {
		_Error_Handler(__FILE__, __LINE__);
	}

}

/** Configure pins as
 * Analog
 * Input
 * Output
 * EVENT_OUT
 * EXTI
 */
static void MX_GPIO_Init(void) {

	GPIO_InitTypeDef GPIO_InitStruct;

	/* GPIO Ports Clock Enable */
	__HAL_RCC_GPIOE_CLK_ENABLE()
	;
	__HAL_RCC_GPIOC_CLK_ENABLE()
	;
	__HAL_RCC_GPIOA_CLK_ENABLE()
	;
	__HAL_RCC_GPIOB_CLK_ENABLE()
	;
	__HAL_RCC_GPIOD_CLK_ENABLE()
	;

	/*Configure GPIO pin Output Level */
	HAL_GPIO_WritePin(GPIOE, LoRa_RST_Pin | LoRa_SPI4_NSS_Pin, GPIO_PIN_RESET);

	/*Configure GPIO pin Output Level */
	HAL_GPIO_WritePin(GPIOC, HC_SET_Pin | LED1_Pin, GPIO_PIN_RESET);

	/*Configure GPIO pin Output Level */
	HAL_GPIO_WritePin(M_PWR_GPIO_Port, M_PWR_Pin, GPIO_PIN_RESET);

	/*Configure GPIO pin Output Level */
	HAL_GPIO_WritePin(GPIOD, LED4_Pin | LED3_Pin | LED2_Pin | CAN_STB_Pin,
			GPIO_PIN_RESET);

	/*Configure GPIO pins : LoRa_RST_Pin LoRa_SPI4_NSS_Pin */
	GPIO_InitStruct.Pin = LoRa_RST_Pin | LoRa_SPI4_NSS_Pin;
	GPIO_InitStruct.Mode = GPIO_MODE_OUTPUT_PP;
	GPIO_InitStruct.Pull = GPIO_NOPULL;
	GPIO_InitStruct.Speed = GPIO_SPEED_FREQ_LOW;
	HAL_GPIO_Init(GPIOE, &GPIO_InitStruct);

	/*Configure GPIO pins : HC_SET_Pin LED1_Pin */
	GPIO_InitStruct.Pin = HC_SET_Pin | LED1_Pin;
	GPIO_InitStruct.Mode = GPIO_MODE_OUTPUT_PP;
	GPIO_InitStruct.Pull = GPIO_NOPULL;
	GPIO_InitStruct.Speed = GPIO_SPEED_FREQ_LOW;
	HAL_GPIO_Init(GPIOC, &GPIO_InitStruct);

	/*Configure GPIO pins : M_STAT_Pin M_RI_Pin */
	GPIO_InitStruct.Pin = M_STAT_Pin | M_RI_Pin;
	GPIO_InitStruct.Mode = GPIO_MODE_INPUT;
	GPIO_InitStruct.Pull = GPIO_NOPULL;
	HAL_GPIO_Init(GPIOA, &GPIO_InitStruct);

	/*Configure GPIO pin : M_PWR_Pin */
	GPIO_InitStruct.Pin = M_PWR_Pin;
	GPIO_InitStruct.Mode = GPIO_MODE_OUTPUT_PP;
	GPIO_InitStruct.Pull = GPIO_NOPULL;
	GPIO_InitStruct.Speed = GPIO_SPEED_FREQ_LOW;
	HAL_GPIO_Init(M_PWR_GPIO_Port, &GPIO_InitStruct);

	/*Configure GPIO pins : LED4_Pin LED3_Pin LED2_Pin CAN_STB_Pin */
	GPIO_InitStruct.Pin = LED4_Pin | LED3_Pin | LED2_Pin | CAN_STB_Pin;
	GPIO_InitStruct.Mode = GPIO_MODE_OUTPUT_PP;
	GPIO_InitStruct.Pull = GPIO_NOPULL;
	GPIO_InitStruct.Speed = GPIO_SPEED_FREQ_LOW;
	HAL_GPIO_Init(GPIOD, &GPIO_InitStruct);

}

/* USER CODE BEGIN 4 */
void HAL_TIM_PeriodElapsedCallback(TIM_HandleTypeDef *htim) {
	/*
	 * Intervals:
	 * 1: 100ms - 287 - 62499
	 * 2: 500ms - 719 - 62499
	 * 3: 1s - 1439 - 62499
	 * 4: 2s - 5624 - 63999
	 */
	if (htim->Instance == htim1.Instance) {
		//  100 ms
		Tim1Flag = 1;
	}
	if (htim->Instance == htim2.Instance) {
		//  500 ms
		Tim2Flag = 1;
	}
	if (htim->Instance == htim3.Instance) {
		//  1000 ms
		Tim3Flag = 1;
	}
	if (htim->Instance == htim4.Instance) {
		//  2000 ms
		Tim4Flag = 1;
	}
}

uint8_t * removeDoubles(uint8_t *msg, uint16_t *msg_len) {
	uint16_t specCharCount = getCharCount(msg, msg_len, 0xfe)
			+ getCharCount(msg, msg_len, 0xff);
	uint16_t new_msg_size = (*msg_len) - 6 - ((specCharCount - 2) / 2);	// old size - 2 border chars - doubled
	uint8_t * new_msg = (uint8_t *) malloc(new_msg_size);
	uint16_t newIndex = 0;
	uint16_t oldIndex = 0;
	if ((*(msg) == 0x00) && (*(msg + 1) == 0xfe) && (*(msg + 2) == 0x00)) {
		oldIndex = 3;
		while (oldIndex < (*msg_len) - 3) {
			if ((*(msg + oldIndex) == 0xff)
					&& (*(msg + oldIndex + 1) == 0xff)) {
				new_msg[newIndex++] = *(msg + oldIndex);
				oldIndex += 2;
			} else if ((*(msg + oldIndex) == 0xfe)
					&& (*(msg + oldIndex + 1) == 0xfe)) {
				new_msg[newIndex++] = *(msg + oldIndex);
				oldIndex += 2;
			} else {
				new_msg[newIndex++] = *(msg + oldIndex);
				oldIndex++;
			}
		}
	}

	*msg_len = new_msg_size;
	// TODO: free?
	free(msg);
	return new_msg;
}

char* sendWiFiMsg(uint8_t *msg, uint16_t *msg_len) {

	uint16_t index = 2;	// first 2 bytes are packet ID
	uint16_t ramecID = ((uint16_t) *(msg + 1) << 8) | *(msg);	// packet ID

	char buff[260];	// buffer for internal JSON - { } - appended tu main JSON - [ { \"%d\":[ -
	char* JSON = malloc(sizeof(char));		// main (final JSON)
	JSON[0] = 0;
	uint16_t JSON_len = 0;

	// start main JSON with [ { \"%d\":[
	char buffer[13];
	sprintf(buffer, "{\"Id\":%d,\"Data\":{", ramecID); // new [{\"Id\":%d,\"Data\":[ 		old: [{\"%d\":[
	JSON = addToMsg(JSON, buffer);
	uint8_t parse_error = 0;
	while (index < *msg_len && parse_error == 0) {
		uint16_t key = ((uint16_t) *(msg + index + 1) << 8) | *(msg + index);
		index++;
		switch (key) {
		case 5:
			// GPS data
			if (JSON_len > 0) {
				JSON = addToMsg(JSON, ",\0");
			}
			sprintf(buff,
					"\"GPS_data\":{\"latitude\":%u,\"latitude_char\":\"%c\",\"longitude\":%u,\"longitude_char\":\"%c\",\"speed\":%u,\"course\":%u,\"altitude\":%ld}",
					(uint32_t) (*(msg + index + 1) << 24)
							| (uint32_t) (*(msg + index + 2) << 16)
							| (uint32_t) (*(msg + index + 3) << 8)
							| (uint32_t) (*(msg + index + 4)),
					*(msg + index + 5),
					(uint32_t) (*(msg + index + 6) << 24)
							| (uint32_t) (*(msg + index + 7) << 16)
							| (uint32_t) (*(msg + index + 8) << 8)
							| (uint32_t) (*(msg + index + 9)),
					*(msg + index + 10),
					(uint32_t) (*(msg + index + 11) << 24)
							| (uint32_t) (*(msg + index + 12) << 16)
							| (uint32_t) (*(msg + index + 13) << 8)
							| (uint32_t) (*(msg + index + 15)),
					(uint32_t) (*(msg + index + 15) << 24)
							| (uint32_t) (*(msg + index + 16) << 16)
							| (uint32_t) (*(msg + index + 17) << 8)
							| (uint32_t) (*(msg + index + 18)),
					(int32_t) (*(msg + index + 19) << 24)
							| (int32_t) (*(msg + index + 20) << 16)
							| (int32_t) (*(msg + index + 21) << 8)
							| (int32_t) (*(msg + index + 22)));
			JSON = addToMsg(JSON, buff);
			JSON_len++;
			index = index + 23;
			break;
		case 10:
			// BBOX_power_data
			if (JSON_len > 0) {
				JSON = addToMsg(JSON, ",\0");
			}
			sprintf(buff,
					"\"BBOX_power\":{\"power\":%d,\"current\":%d,\"voltage\":%d}",
					((int16_t) *(msg + index + 2) << 8) | *(msg + index + 1),
					((int16_t) *(msg + index + 4) << 8) | *(msg + index + 3),
					((uint16_t) *(msg + index + 6) << 8) | *(msg + index + 5));
			JSON = addToMsg(JSON, buff);
			JSON_len++;
			index = index + 7;
			break;
		case 15:
			// wheel RPM
			if (JSON_len > 0) {
				JSON = addToMsg(JSON, ",\0");
			}
			sprintf(buff,
					"\"wheel_RPM\":{\"front_right\":%d,\"front_left\":%d,\"rear_right\":%d,\"rear_left\":%d}",
					((uint16_t) *(msg + index + 2) << 8) | *(msg + index + 1),
					((uint16_t) *(msg + index + 4) << 8) | *(msg + index + 3),
					((uint16_t) *(msg + index + 6) << 8) | *(msg + index + 5),
					((uint16_t) *(msg + index + 8) << 8) | *(msg + index + 7));
			JSON = addToMsg(JSON, buff);
			JSON_len++;
			index = index + 9;
			break;
		case 20:
			// BBOX status data
			if (JSON_len > 0) {
				JSON = addToMsg(JSON, ",\0");
			}
			sprintf(buff,
					"\"BBOX_status\":{\"SHD_IN\":%d,\"SHD_OUT\":%d,\"TSMS\":%d,\"AIR_N\":%d,\"AIR_P\":%d,\"PRECH_60V\":%d,\"IMD_OK\":%d,\"BMS_OK\":%d,\"SIGNAL_ERROR\":%d,\"SHD_RESET\":%d,\"SHD_EN\":%d,\"POLARITY\":%d,\"FANS\":%d,\"STM_temp\":%d}",
					(uint8_t) (*(msg + index + 2) & 0b10000000) >> 7,
					(uint8_t) (*(msg + index + 2) & 0b01000000) >> 6,
					(uint8_t) (*(msg + index + 2) & 0b00001000) >> 3,
					(uint8_t) (*(msg + index + 1) & 0b10000000) >> 7,
					(uint8_t) (*(msg + index + 1) & 0b01000000) >> 6,
					(uint8_t) (*(msg + index + 1) & 0b00000010) >> 1,
					(uint8_t) (*(msg + index + 1) & 0b00001000) >> 3,
					(uint8_t) (*(msg + index + 1) & 0b00100000) >> 5,
					(uint8_t) (*(msg + index + 2) & 0b00010000) >> 4,
					(uint8_t) (*(msg + index + 2) & 0b00100000) >> 5,
					(uint8_t) (*(msg + index + 1) & 0b00000001) >> 0,
					(uint8_t) (*(msg + index + 1) & 0b00000100) >> 2,
					(uint8_t) (*(msg + index + 1) & 0b00010000) >> 4,
					(int8_t) *(msg + index + 3));
			JSON = addToMsg(JSON, buff);
			JSON_len++;

			index = index + 4;
			break;
		case 25:
			// FU_Values_1
			if (JSON_len > 0) {
				JSON = addToMsg(JSON, ",\0");
			}
			sprintf(buff,
					"\"FU_Values_1\":{\"apps1\":%d,\"apps2\":%d,\"brake1\":%d,\"brake2\":%d,\"error\":%d}",
					(uint8_t) *(msg + index + 1), (uint8_t) *(msg + index + 2),
					(uint8_t) *(msg + index + 3), (uint8_t) *(msg + index + 4),
					((uint16_t) *(msg + index + 6) << 8) | *(msg + index + 5)

					);
			JSON = addToMsg(JSON, buff);
			JSON_len++;
			index = index + 7;
			break;
		case 30:
			// BBOX_command
			if (JSON_len > 0) {
				JSON = addToMsg(JSON, ",\0");
			}
			sprintf(buff, "\"BBOX_command\":{\"FANS\":%d,\"SHD_EN\":%d}",
					(uint8_t) (*(msg + index + 1) & 0b10000000) >> 7,
					(uint8_t) (*(msg + index + 1) & 0b01000000) >> 6);
			JSON = addToMsg(JSON, buff);
			JSON_len++;
			index = index + 2;
			break;
		case 40:
			// BMS_Command
			if (JSON_len > 0) {
				JSON = addToMsg(JSON, ",\0");
			}
			sprintf(buff,
					"\"BMS_Command\":{\"BMS_Balanc\":%d,\"BMS_FullMode\":%d,\"BMS_OK\":%d,\"BMS_ONOFF\":%d,\"BMS_CAN\":%d}",
					(uint8_t) (*(msg + index + 1) & 0b11000000) >> 6,
					(uint8_t) (*(msg + index + 2) & 0b10000000) >> 7,
					(uint8_t) (*(msg + index + 1) & 0b00110000) >> 4,
					(uint8_t) (*(msg + index + 1) & 0b00001100) >> 2,
					(uint8_t) (*(msg + index + 1) & 0b00000011));
			JSON = addToMsg(JSON, buff);
			JSON_len++;
			index = index + 3;
			break;
		case 50:
			// BMS_State
			if (JSON_len > 0) {
				JSON = addToMsg(JSON, ",\0");
			}
			sprintf(buff,
					"\"BMS_State\":{\"BMS_Mode\":%d,\"BMS_Faults\":%d,\"CellVolt_L\":%d,\"CellVolt_H\":%d,\"CellTemp_L\":%d,\"CellTemp_H\":%d,\"BMS_Ident\":%d}",
					(uint8_t) *(msg + index + 1),
					((uint16_t) *(msg + index + 3) << 8) | *(msg + index + 2),
					(uint8_t) *(msg + index + 4), (uint8_t) *(msg + index + 5),
					(uint8_t) *(msg + index + 6), (uint8_t) *(msg + index + 7),
					(uint8_t) *(msg + index + 8));
			JSON = addToMsg(JSON, buff);
			JSON_len++;
			index = index + 9;
			break;
		case 60:
			// ECU_State
			if (JSON_len > 0) {
				JSON = addToMsg(JSON, ",\0");
			}
			sprintf(buff,
					"\"ECU_State\":{\"ECU_Status\":%d,\"FL_AMK_Status\":%d,\"FR_AMK_Status\":%d,\"RL_AMK_Status\":%d,\"RR_AMK_Status\":%d,\"TempMotor_H\":%d,\"TempInverter_H\":%d,\"TempIGBT_H\":%d}",
					(uint8_t) *(msg + index + 1), (uint8_t) *(msg + index + 2),
					(uint8_t) *(msg + index + 3), (uint8_t) *(msg + index + 4),
					(uint8_t) *(msg + index + 5), (uint8_t) *(msg + index + 6),
					(uint8_t) *(msg + index + 7), (uint8_t) *(msg + index + 8));
			JSON = addToMsg(JSON, buff);
			JSON_len++;
			index = index + 9;
			break;
		case 70:
			// FU_Values_2
			if (JSON_len > 0) {
				JSON = addToMsg(JSON, ",\0");
			}
			sprintf(buff,
					"\"FU_Values_2\":{\"steer\":%d,\"susp_FL\":%d,\"susp_FR\":%d,\"brake_pos\":%d,\"RTD\":%d,\"BOTS\":%d,\"SHDB\":%d,\"INERTIA_SW\":%d,\"reserve\":%d}",
					(int8_t) *(msg + index + 1),
					((uint16_t) *(msg + index + 3) << 8) | *(msg + index + 2),
					((uint16_t) *(msg + index + 5) << 8) | *(msg + index + 4),
					(uint8_t) *(msg + index + 6),
					(uint8_t) (*(msg + index + 7) & 0b10000000) >> 7,
					(uint8_t) (*(msg + index + 7) & 0b01000000) >> 6,
					(uint8_t) (*(msg + index + 7) & 0b00100000) >> 5,
					(uint8_t) (*(msg + index + 7) & 0b00010000) >> 4,
					(uint8_t) *(msg + index + 8));
			JSON = addToMsg(JSON, buff);
			JSON_len++;
			index = index + 9;
			break;
		case 80:
			// Interconnect
			if (JSON_len > 0) {
				JSON = addToMsg(JSON, ",\0");
			}
			sprintf(buff,
					"\"Interconnect\":{\"car_state\":%d,\"left_w_pump\":%d,\"right_w_pump\":%d,\"brake_red\":%d,\"brake_white\":%d,\"tsas\":%d,\"killswitch_R\":%d,\"killswitch_L\":%d,\"reserve\":%d,\"susp_RR\":%d,\"susp_RL\":%d}",
					(uint8_t) *(msg + index + 1),
					(uint8_t) (*(msg + index + 2) & 0b10000000) >> 7,
					(uint8_t) (*(msg + index + 2) & 0b01000000) >> 6,
					(uint8_t) (*(msg + index + 2) & 0b00100000) >> 5,
					(uint8_t) (*(msg + index + 2) & 0b00010000) >> 4,
					(uint8_t) (*(msg + index + 2) & 0b00001000) >> 3,
					(uint8_t) (*(msg + index + 2) & 0b00000100) >> 2,
					(uint8_t) (*(msg + index + 2) & 0b00000010) >> 1,
					(uint8_t) *(msg + index + 3),
					((uint16_t) *(msg + index + 5) << 8) | *(msg + index + 4),
					((uint16_t) *(msg + index + 7) << 8) | *(msg + index + 6));
			JSON = addToMsg(JSON, buff);
			JSON_len++;
			index = index + 8;
			break;
		case 90:
			// BMS_Voltages
			if (JSON_len > 0) {
				JSON = addToMsg(JSON, ",\0");
			}
			sprintf(buff,
					"\"BMS_Voltages\":{\"BMS_VoltIdent\":%d,\"BMS_Volt1\":%d,\"BMS_Volt2\":%d,\"BMS_Volt3\":%d,\"BMS_Volt4\":%d,\"BMS_Volt5\":%d,\"BMS_Volt6\":%d,\"BMS_Volt7\":%d}",
					(uint8_t) *(msg + index + 1), (uint8_t) *(msg + index + 2),
					(uint8_t) *(msg + index + 3), (uint8_t) *(msg + index + 4),
					(uint8_t) *(msg + index + 5), (uint8_t) *(msg + index + 6),
					(uint8_t) *(msg + index + 7), (uint8_t) *(msg + index + 8));
			JSON = addToMsg(JSON, buff);
			JSON_len++;
			index = index + 9;
			break;
		case 95:
			// BMS_Voltages
			if (JSON_len > 0) {
				JSON = addToMsg(JSON, ",\0");
			}
			sprintf(buff,
					"\"BMS_Temps\":{\"BMS_TempIdent\":%d,\"BMS_Temp1\":%d,\"BMS_Temp2\":%d,\"BMS_Temp3\":%d,\"BMS_Temp4\":%d,\"BMS_Temp5\":%d,\"BMS_Temp6\":%d,\"BMS_Temp7\":%d}",
					(uint8_t) *(msg + index + 1), (uint8_t) *(msg + index + 2),
					(uint8_t) *(msg + index + 3), (uint8_t) *(msg + index + 4),
					(uint8_t) *(msg + index + 5), (uint8_t) *(msg + index + 6),
					(uint8_t) *(msg + index + 7), (uint8_t) *(msg + index + 8));
			JSON = addToMsg(JSON, buff);
			JSON_len++;
			index = index + 9;
			break;
		default:
			parse_error = 1;
			break;
		}
	}
	JSON = addToMsg(JSON, "}}");	// append last chars to final JSON

	uint8_t res = HAL_UART_Transmit(&huart7, JSON, strlen(JSON), 1500);
	HAL_Delay(50);
	free(JSON);
}

/* USER CODE END 4 */

void _Error_Handler(char *file, int line) {
	while (1) {
	}
}

/************************ (C) COPYRIGHT STMicroelectronics *****END OF FILE****/
